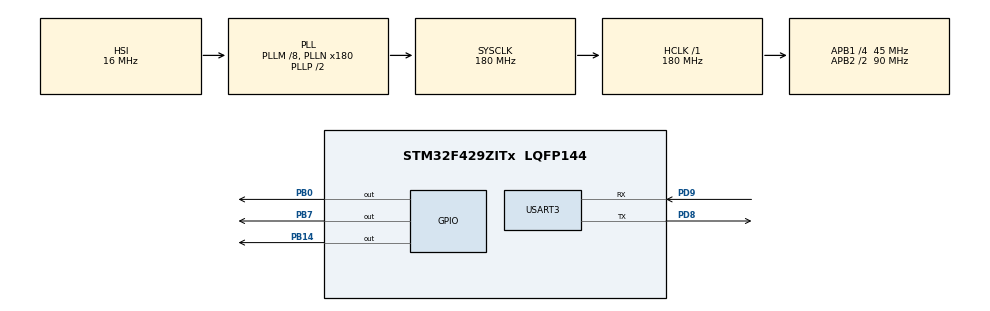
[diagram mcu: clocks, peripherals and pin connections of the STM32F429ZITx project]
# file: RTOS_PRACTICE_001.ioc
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FREERTOS.Tasks01=defaultTask,24,128,StartDefaultTask,Default,NULL,Dynamic,NULL,NULL
FREERTOS.configUSE_NEWLIB_REENTRANT=1
Mcu.Family=STM32F4
Mcu.Name=STM32F429ZITx
Mcu.Package=LQFP144
NVIC.PriorityGroup=NVIC_PRIORITYGROUP_4
NVIC.TIM5_IRQn=true\:15\:0\:false\:false\:true\:false\:false\:true\:true
NVIC.TimeBase=TIM5_IRQn
NVIC.TimeBaseIP=TIM5
NVIC.USART3_IRQn=true\:5\:0\:false\:true\:true\:1\:true\:true\:true\:true
PA13.Mode=Serial_Wire
PA13.Signal=SYS_JTMS-SWDIO
PA14.Mode=Serial_Wire
PA14.Signal=SYS_JTCK-SWCLK
PB0.Signal=GPIO_Output
PB14.Signal=GPIO_Output
PB7.Signal=GPIO_Output
PC14/OSC32_IN.Mode=LSE-External-Oscillator
PC14/OSC32_IN.Signal=RCC_OSC32_IN
PC15/OSC32_OUT.Mode=LSE-External-Oscillator
PC15/OSC32_OUT.Signal=RCC_OSC32_OUT
PD8.Mode=Asynchronous
PD8.Signal=USART3_TX
PD9.Mode=Asynchronous
PD9.Signal=USART3_RX
ProjectManager.HeapSize=0x200
ProjectManager.StackSize=0x400
ProjectManager.TargetToolchain=STM32CubeIDE
RCC.48MHZClocksFreq_Value=90000000
RCC.AHBFreq_Value=180000000
RCC.APB1CLKDivider=RCC_HCLK_DIV4
RCC.APB1Freq_Value=45000000
RCC.APB1TimFreq_Value=90000000
RCC.APB2CLKDivider=RCC_HCLK_DIV2
RCC.APB2Freq_Value=90000000
RCC.APB2TimFreq_Value=180000000
RCC.CortexFreq_Value=180000000
RCC.HCLKFreq_Value=180000000
RCC.HSE_VALUE=25000000
RCC.HSI_VALUE=16000000
RCC.PLLM=8
RCC.PLLN=180
RCC.RCC_RTC_Clock_Source=RCC_RTCCLKSOURCE_LSE
RCC.RCC_RTC_Clock_SourceVirtual=RCC_RTCCLKSOURCE_LSE
RCC.SYSCLKFreq_VALUE=180000000
RCC.SYSCLKSource=RCC_SYSCLKSOURCE_PLLCLK
RCC.VCOOutputFreq_Value=360000000
USART3.VirtualMode=VM_ASYNC
VP_FREERTOS_VS_CMSIS_V2.Mode=CMSIS_V2
VP_RTC_VS_RTC_Activate.Mode=RTC_Enabled
VP_SYS_VS_tim5.Mode=TIM5
board=custom

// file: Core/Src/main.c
/* USER CODE BEGIN Header */
/**
  ******************************************************************************
  * @file           : main.c
  * @brief          : Main program body
  ******************************************************************************
  * @attention
  *
  * Copyright (c) 2022 STMicroelectronics.
  * All rights reserved.
  *
  * This software is licensed under terms that can be found in the LICENSE file
  * in the root directory of this software component.
  * If no LICENSE file comes with this software, it is provided AS-IS.
  *
  ******************************************************************************
  */
/* USER CODE END Header */
#include "main.h"
#include "cmsis_os.h"
#include "rtc.h"
#include "usart.h"
#include "gpio.h"

/* USER CODE BEGIN PV */

	uint8_t rx;
/* USER CODE END PV */

void SystemClock_Config(void);
void MX_FREERTOS_Init(void);
static void MX_NVIC_Init(void);

/* USER CODE BEGIN 0 */
int __io_putchar(int ch) {
    HAL_UART_Transmit(&huart3, &ch, 1, 1000);
    return ch;
}

/* USER CODE END 0 */

int main(void)
{

  /* MCU Configuration--------------------------------------------------------*/

  /* Reset of all peripherals, Initializes the Flash interface and the Systick. */
  HAL_Init();

  /* Configure the system clock */
  SystemClock_Config();

  /* Initialize all configured peripherals */
  MX_GPIO_Init();
  MX_RTC_Init();
  MX_USART3_UART_Init();

  /* Initialize interrupts */
  MX_NVIC_Init();
  /* USER CODE BEGIN 2 */

  HAL_UART_Receive_IT(&huart3, &rx, 1);
  /* USER CODE END 2 */

  /* Init scheduler */
  osKernelInitialize();  /* Call init function for freertos objects (in freertos.c) */
  MX_FREERTOS_Init();

  /* Start scheduler */
  osKernelStart();

  /* We should never get here as control is now taken by the scheduler */
  /* Infinite loop */
  while (1)
  {

  }
}

void SystemClock_Config(void)
{
  RCC_OscInitTypeDef RCC_OscInitStruct = {0};
  RCC_ClkInitTypeDef RCC_ClkInitStruct = {0};

  /** Configure the main internal regulator output voltage
  */
  __HAL_RCC_PWR_CLK_ENABLE();
  __HAL_PWR_VOLTAGESCALING_CONFIG(PWR_REGULATOR_VOLTAGE_SCALE1);

  /** Initializes the RCC Oscillators according to the specified parameters
  * in the RCC_OscInitTypeDef structure.
  */
  RCC_OscInitStruct.OscillatorType = RCC_OSCILLATORTYPE_HSI|RCC_OSCILLATORTYPE_LSE;
  RCC_OscInitStruct.LSEState = RCC_LSE_ON;
  RCC_OscInitStruct.HSIState = RCC_HSI_ON;
  RCC_OscInitStruct.HSICalibrationValue = RCC_HSICALIBRATION_DEFAULT;
  RCC_OscInitStruct.PLL.PLLState = RCC_PLL_ON;
  RCC_OscInitStruct.PLL.PLLSource = RCC_PLLSOURCE_HSI;
  RCC_OscInitStruct.PLL.PLLM = 8;
  RCC_OscInitStruct.PLL.PLLN = 180;
  RCC_OscInitStruct.PLL.PLLP = RCC_PLLP_DIV2;
  RCC_OscInitStruct.PLL.PLLQ = 4;
  if (HAL_RCC_OscConfig(&RCC_OscInitStruct) != HAL_OK)
  {
    Error_Handler();
  }

  /** Activate the Over-Drive mode
  */
  if (HAL_PWREx_EnableOverDrive() != HAL_OK)
  {
    Error_Handler();
  }

  /** Initializes the CPU, AHB and APB buses clocks
  */
  RCC_ClkInitStruct.ClockType = RCC_CLOCKTYPE_HCLK|RCC_CLOCKTYPE_SYSCLK
                              |RCC_CLOCKTYPE_PCLK1|RCC_CLOCKTYPE_PCLK2;
  RCC_ClkInitStruct.SYSCLKSource = RCC_SYSCLKSOURCE_PLLCLK;
  RCC_ClkInitStruct.AHBCLKDivider = RCC_SYSCLK_DIV1;
  RCC_ClkInitStruct.APB1CLKDivider = RCC_HCLK_DIV4;
  RCC_ClkInitStruct.APB2CLKDivider = RCC_HCLK_DIV2;

  if (HAL_RCC_ClockConfig(&RCC_ClkInitStruct, FLASH_LATENCY_5) != HAL_OK)
  {
    Error_Handler();
  }
}

/**
  * @brief NVIC Configuration.
  * @retval None
  */
static void MX_NVIC_Init(void)
{
  /* USART3_IRQn interrupt configuration */
  HAL_NVIC_SetPriority(USART3_IRQn, 5, 0);
  HAL_NVIC_EnableIRQ(USART3_IRQn);
}

void HAL_TIM_PeriodElapsedCallback(TIM_HandleTypeDef *htim)
{
  if (htim->Instance == TIM5) {
    HAL_IncTick();
  }
}

void Error_Handler(void)
{
  __disable_irq();
  while (1)
  {
  }
}

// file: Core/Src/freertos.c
/* USER CODE BEGIN Header */
/**
  ******************************************************************************
  * File Name          : freertos.c
  * Description        : Code for freertos applications
  ******************************************************************************
  * @attention
  *
  * Copyright (c) 2022 STMicroelectronics.
  * All rights reserved.
  *
  * This software is licensed under terms that can be found in the LICENSE file
  * in the root directory of this software component.
  * If no LICENSE file comes with this software, it is provided AS-IS.
  *
  ******************************************************************************
  */
/* USER CODE END Header */

#include "FreeRTOS.h"
#include "task.h"
#include "main.h"

#include "cmsis_os.h"

/* USER CODE BEGIN Includes */
#include "usart.h"
/* USER CODE END Includes */

/* USER CODE BEGIN Variables */
osThreadId_t LD1_ThreadHandle;
const osThreadAttr_t LD1Task_attributes = {
  .name = "LD1",
  .stack_size = 128 * 4,
  .priority = (osPriority_t) osPriorityNormal,
};

osThreadId_t LD2_ThreadHandle;
const osThreadAttr_t LD2Task_attributes = {
  .name = "LD2",
  .stack_size = 128 * 4,
  .priority = (osPriority_t) osPriorityNormal,
};
/* USER CODE END Variables */
/* Definitions for defaultTask */
osThreadId_t defaultTaskHandle;
const osThreadAttr_t defaultTask_attributes = {
  .name = "defaultTask",
  .stack_size = 128 * 4,
  .priority = (osPriority_t) osPriorityNormal,
};

//UART_HandleTypeDef huart3;

//===================Mutex==================//
osMutexId hMutex;
//===================Mutex==================//

/* USER CODE BEGIN FunctionPrototypes */
void LD1Task(void *argument);
void LD2Task(void *argument);
/* USER CODE END FunctionPrototypes */

void StartDefaultTask(void *argument);

void MX_FREERTOS_Init(void); /* (MISRA C 2004 rule 8.1) */

void MX_FREERTOS_Init(void) {

  /* USER CODE BEGIN RTOS_MUTEX */
  /* add mutexes, ... */
	  osMutexDef(hMutex);
	  hMutex = osMutexNew(osMutex(hMutex));

  /* USER CODE END RTOS_MUTEX */

  /* Create the thread(s) */
  /* creation of defaultTask */
  defaultTaskHandle = osThreadNew(StartDefaultTask, NULL, &defaultTask_attributes);

  /* USER CODE BEGIN RTOS_THREADS */
  /* add threads, ... */
  LD1_ThreadHandle = osThreadNew(LD1Task, NULL, &defaultTask_attributes);
  LD2_ThreadHandle = osThreadNew(LD2Task, NULL, &defaultTask_attributes);
  /* USER CODE END RTOS_THREADS */

  /* USER CODE BEGIN RTOS_EVENTS */
  /* add events, ... */
  void HAL_UART_RxCpltCallback(UART_HandleTypeDef *huart)
  {
    UNUSED(huart);
  }
  /* USER CODE END RTOS_EVENTS */

}

void StartDefaultTask(void *argument)
{
  for(;;)
  {
    osDelay(1);
  }
}

/* USER CODE BEGIN Application */
void LD1Task(void *argument)
{
  /* USER CODE BEGIN StartDefaultTask */
	  uint8_t uart_buf[30];
  /* Infinite loop */
  for(;;)
  {
	  memset(uart_buf,0,sizeof(uart_buf));
	  sprintf(uart_buf,"korea ");
	  osDelay(100);
	  HAL_UART_Transmit(&huart3, uart_buf, sizeof(uart_buf), 0xffff);
  }
  /* USER CODE END StartDefaultTask */
}

void LD2Task(void *argument)
{
  /* USER CODE BEGIN StartDefaultTask */
	  uint8_t uart_buf[30];
  /* Infinite loop */
  for(;;)
  {
	  memset(uart_buf,0,sizeof(uart_buf));
	  sprintf(uart_buf,"polytech\r\n");
	    osDelay(500);
	  HAL_UART_Transmit(&huart3, uart_buf, sizeof(uart_buf), 0xffff);
  }
  /* USER CODE END StartDefaultTask */
}

/* USER CODE END Application */
